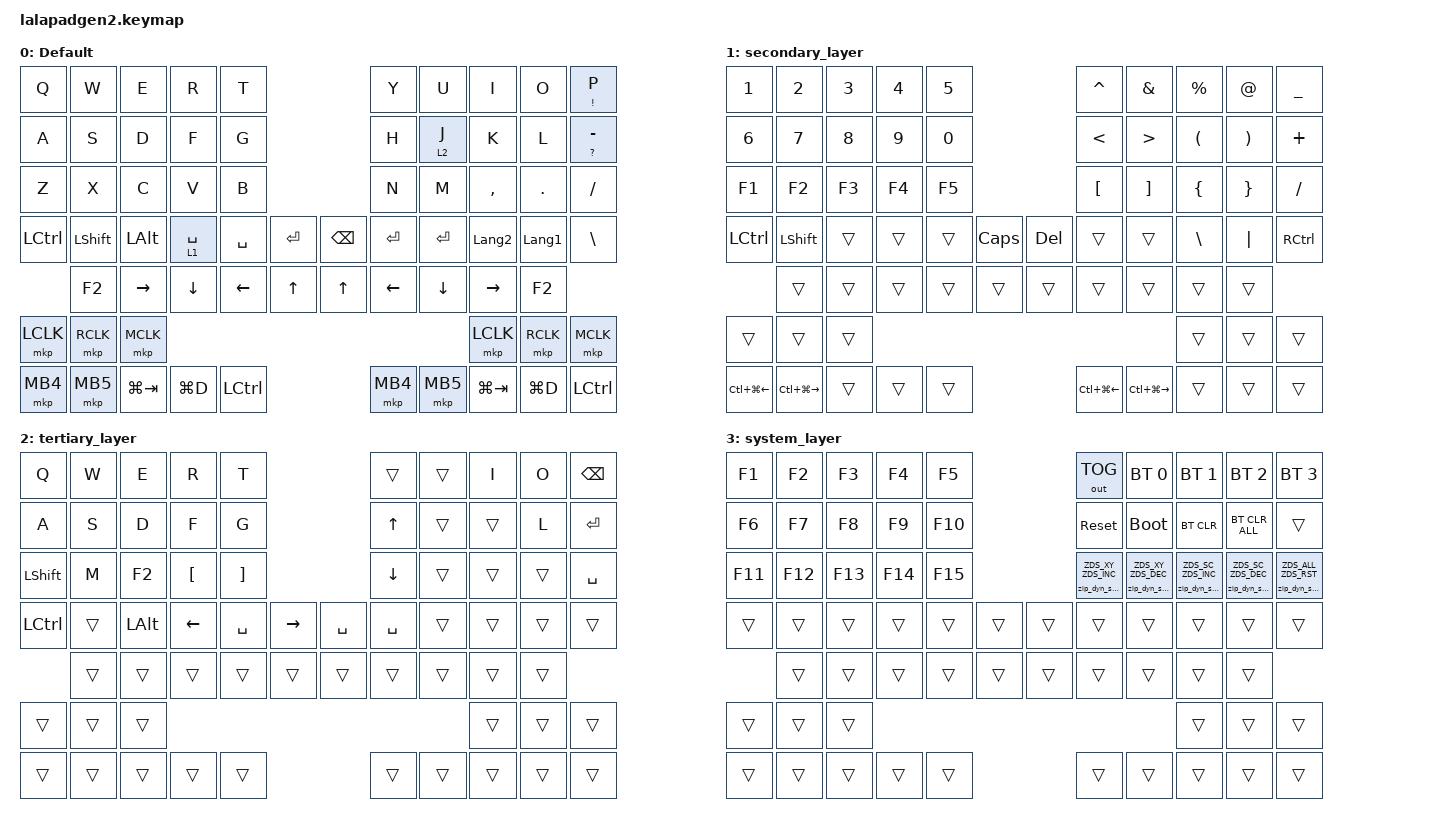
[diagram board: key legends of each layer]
#include <input/processors.dtsi>
#include <dt-bindings/zmk/zip_dynamic_scale.h>
#include <behaviors.dtsi>
#include <dt-bindings/zmk/bt.h>
#include <dt-bindings/zmk/keys.h>
#include <dt-bindings/zmk/outputs.h>
#include <dt-bindings/zmk/pointing.h>

#define DEFAULT_LAYER   0
#define SECONDARY_LAYER 1
#define TERTIARY_LAYER  2
#define SYSTEM_LAYER    3

&mt { quick-tap-ms = <200>; };

&lt { quick-tap-ms = <200>; };

/ {
    behaviors {
        zip_dyn_scale: zip_dyn_scale {
            compatible = "zmk,behavior-zip-dynamic-scale";
            #binding-cells = <2>;
        };

        zip_dyn_scale_set: zip_dyn_scale_set {
            compatible = "zmk,behavior-zip-dynamic-scale-set";
            #binding-cells = <2>;
        };

        mt2: mod_tap2 {
            compatible = "zmk,behavior-hold-tap";
            #binding-cells = <2>;
            flavor = "tap-preferred";
            tapping-term-ms = <200>;
            quick-tap-ms = <200>;
            require-prior-idle-ms = <125>;
            bindings = <&kp>, <&kp>;
        };

        tap_dance_layer_1and2: tap_dance_layer_1and2 {
            compatible = "zmk,behavior-tap-dance";
            label = "td_mo12";
            #binding-cells = <0>;
            bindings = <&mo 1>, <&mo 2>;
        };
    };

    combos {
        compatible = "zmk,combos";

        caplock {
            bindings = <&kp CAPSLOCK>;
            key-positions = <13 12>;
        };
    };

    keymap {
        compatible = "zmk,keymap";

        DEFAULT_LAYER {
            display-name = "Default";
            bindings = <
&kp Q      &kp W           &kp E         &kp R        &kp T                                &kp Y      &kp U      &kp I           &kp O           &mt EXCL P
&kp A      &kp S           &kp D         &kp F        &kp G                                &kp H      &lt 2 J    &kp K           &kp L           &mt2 QUESTION MINUS
&kp Z      &kp X           &kp C         &kp V        &kp B                                &kp N      &kp M      &kp COMMA       &kp PERIOD      &kp SLASH
&kp LCTRL  &kp LEFT_SHIFT  &kp LEFT_ALT  &lt 1 SPACE  &kp SPACE  &kp ENTER  &kp BACKSPACE  &kp ENTER  &kp ENTER  &kp LANGUAGE_2  &kp LANGUAGE_1  &kp BACKSLASH
           &kp F2          &kp RIGHT     &kp DOWN     &kp LEFT   &kp UP     &kp UP         &kp LEFT   &kp DOWN   &kp RIGHT       &kp F2
&mkp LCLK  &mkp RCLK       &mkp MCLK                                                                             &mkp LCLK       &mkp RCLK       &mkp MCLK
&mkp MB4   &mkp MB5        &kp LG(TAB)   &kp LG(D)    &kp LCTRL                            &mkp MB4   &mkp MB5   &kp LG(TAB)     &kp LG(D)       &kp LCTRL
            >;
        };

        num-kigou {
            display-name = "secondary_layer";
            bindings = <
&kp NUMBER_1      &kp NUMBER_2       &kp NUMBER_3  &kp NUMBER_4  &kp N5                     &kp CARET         &kp AMPS           &kp PRCNT       &kp AT                 &kp UNDER
&kp NUMBER_6      &kp N7             &kp N8        &kp N9        &kp N0                     &kp LESS_THAN     &kp GREATER_THAN   &kp LPAR        &kp RIGHT_PARENTHESIS  &kp PLUS
&kp F1            &kp F2             &kp F3        &kp F4        &kp F5                     &kp LEFT_BRACKET  &kp RIGHT_BRACKET  &kp LEFT_BRACE  &kp RIGHT_BRACE        &kp SLASH
&kp LEFT_CONTROL  &kp LEFT_SHIFT     &trans        &trans        &trans  &kp CAPS  &kp DEL  &trans            &trans             &kp BACKSLASH   &kp PIPE               &kp RIGHT_CONTROL
                  &trans             &trans        &trans        &trans  &trans    &trans   &trans            &trans             &trans          &trans
&trans            &trans             &trans                                                                                      &trans          &trans                 &trans
&kp LC(LG(LEFT))  &kp LC(LG(RIGHT))  &trans        &trans        &trans                     &kp LC(LG(LEFT))  &kp LC(LG(RIGHT))  &trans          &trans                 &trans
            >;
        };

        arrow {
            display-name = "tertiary_layer";
            bindings = <
&kp Q             &kp W   &kp E         &kp R             &kp T                                          &trans          &trans  &kp I   &kp O   &kp BACKSPACE
&kp A             &kp S   &kp D         &kp F             &kp G                                          &kp UP_ARROW    &trans  &trans  &kp L   &kp ENTER
&kp LEFT_SHIFT    &kp M   &kp F2        &kp LEFT_BRACKET  &kp RIGHT_BRACKET                              &kp DOWN_ARROW  &trans  &trans  &trans  &kp SPACE
&kp LEFT_CONTROL  &trans  &kp LEFT_ALT  &kp LEFT_ARROW    &kp SPACE          &kp RIGHT_ARROW  &kp SPACE  &kp SPACE       &trans  &trans  &trans  &trans
                  &trans  &trans        &trans            &trans             &trans           &trans     &trans          &trans  &trans  &trans
&trans            &trans  &trans                                                                                                 &trans  &trans  &trans
&trans            &trans  &trans        &trans            &trans                                         &trans          &trans  &trans  &trans  &trans
            >;
        };

        SYSTEM_LAYER {
            display-name = "system_layer";
            bindings = <
&kp F1   &kp F2   &kp F3   &kp F4   &kp F5                   &out OUT_TOG                   &bt BT_SEL 0                   &bt BT_SEL 1                   &bt BT_SEL 2                   &bt BT_SEL 3
&kp F6   &kp F7   &kp F8   &kp F9   &kp F10                  &sys_reset                     &bootloader                    &bt BT_CLR                     &bt BT_CLR_ALL                 &trans
&kp F11  &kp F12  &kp F13  &kp F14  &kp F15                  &zip_dyn_scale ZDS_XY ZDS_INC  &zip_dyn_scale ZDS_XY ZDS_DEC  &zip_dyn_scale ZDS_SC ZDS_INC  &zip_dyn_scale ZDS_SC ZDS_DEC  &zip_dyn_scale ZDS_ALL ZDS_RST
&trans   &trans   &trans   &trans   &trans   &trans  &trans  &trans                         &trans                         &trans                         &trans                         &trans
         &trans   &trans   &trans   &trans   &trans  &trans  &trans                         &trans                         &trans                         &trans
&trans   &trans   &trans                                                                                                   &trans                         &trans                         &trans
&trans   &trans   &trans   &trans   &trans                   &trans                         &trans                         &trans                         &trans                         &trans
            >;
        };
    };

    conditional_layers {
        compatible = "zmk,conditional-layers";

        Cond_Syslayer {
            if-layers = <1 2>;
            then-layer = <3>;
        };
    };
};
